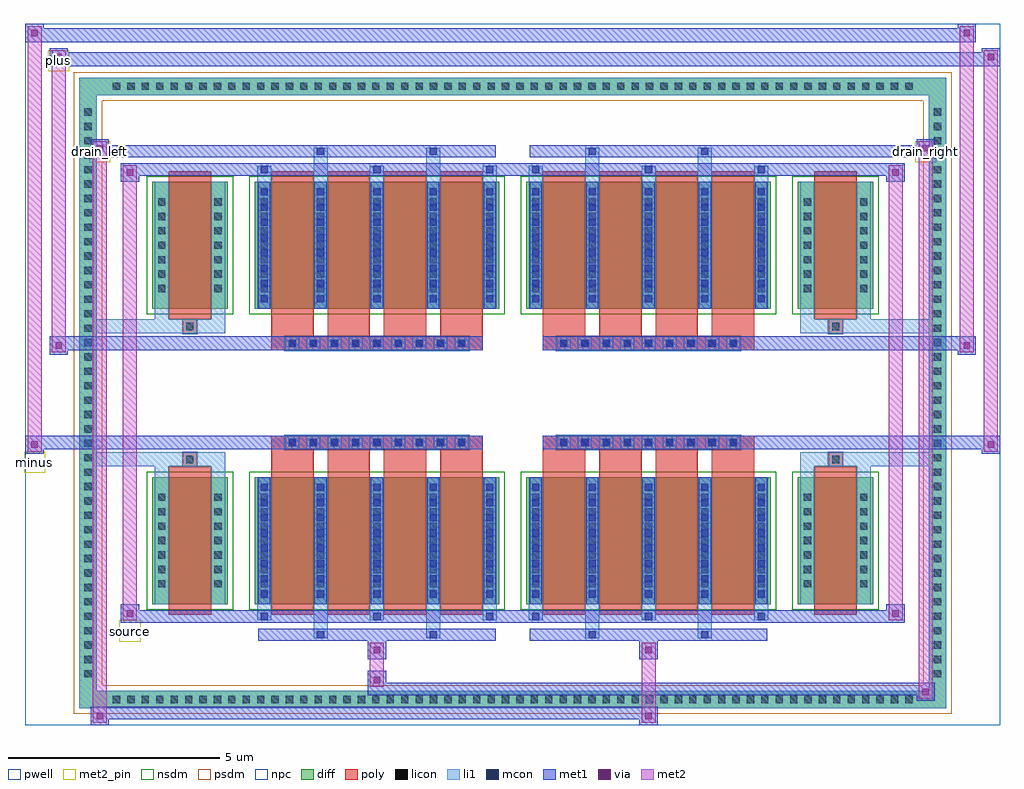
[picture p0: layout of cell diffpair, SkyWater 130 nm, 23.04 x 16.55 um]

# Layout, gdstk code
import gdstk
lib = gdstk.Library(unit=1e-6, precision=5e-09)
def R(c, l, rs):  # rectangles x0, y0, x1, y1
    for r in rs: c.add(gdstk.rectangle(r[:2], r[2:], *l))
def A(c, l, x, y, w, h, nx, ny, dx, dy):  # array of equal rectangles
    R(c, l, [(x+i*dx, y+j*dy, x+i*dx+w, y+j*dy+h) for i in range(nx) for j in range(ny)])
def P(c, l, *ps):  # polygons
    for p in ps: c.add(gdstk.Polygon(p, *l))
pwell = (64, 44)
diff = (65, 20)
poly = (66, 20)
licon = (66, 44)
li1 = (67, 20)
mcon = (67, 44)
met1 = (68, 20)
via = (68, 44)
met2_pin = (69, 16)
met2 = (69, 20)
nsdm = (93, 44)
psdm = (94, 20)
npc = (95, 20)

diffpair = lib.new_cell('diffpair')
R(diffpair, pwell, [(-11.5,-7.84,11.5,8.71), (-8.82,-6.03,-0.01,-0.805), (0.01,-6.03,8.82,-0.805), (-8.82,0.805,-0.01,6.03), (0.01,0.805,8.82,6.03)])
A(diffpair, diff, -9.555, -7.44, 0.41, 0.41, 56, 2, 0.34, 14.47)
A(diffpair, diff, -10.23, -6.835, 0.41, 0.41, 1, 40, 0, 0.34)
A(diffpair, diff, 9.82, -6.835, 0.41, 0.41, 1, 40, 0, 0.34)
R(diffpair, diff, [(-9.555,-7.44,9.555,-7.03), (-10.23,-6.835,-9.82,6.835), (9.82,-6.835,10.23,6.835), (-8.51,-4.985,-6.73,-1.985), (-6.09,-4.985,-0.32,-1.985), (0.32,-4.985,6.09,-1.985), (6.73,-4.985,8.51,-1.985), (-8.51,1.985,-6.73,4.985), (-6.09,1.985,-0.32,4.985), (0.32,1.985,6.09,4.985), (6.73,1.985,8.51,4.985), (-9.555,7.03,9.555,7.44)])
P(diffpair, diff, [(10.23,7.44),(-10.23,7.44),(-10.23,-7.03),(-9.82,-7.03),(-9.82,7.03),(9.82,7.03),(9.82,-7.03),(-9.82,-7.03),(-10.23,-7.03),(-10.23,-7.44),(10.23,-7.44)])
A(diffpair, poly, -5.7, -5.235, 1, 3.5, 4, 2, 1.33, 6.97)
A(diffpair, poly, 0.71, -5.235, 1, 3.5, 4, 2, 1.33, 6.97)
A(diffpair, poly, -5.7, -1.735, 1, 0.4, 4, 2, 1.33, 3.07)
A(diffpair, poly, 0.71, -1.735, 1, 0.4, 4, 2, 1.33, 3.07)
A(diffpair, poly, -5.37, -1.335, 0.33, 0.33, 9, 2, 0.5, 2.34)
A(diffpair, poly, 1.04, -1.335, 0.33, 0.33, 9, 2, 0.5, 2.34)
R(diffpair, poly, [(-8.12,-5.235,-7.12,-1.735), (7.12,-5.235,8.12,-1.735), (-7.785,-1.735,-7.455,-1.405), (-7.785,-1.735,-7.455,-1.405), (7.455,-1.735,7.785,-1.405), (7.455,-1.735,7.785,-1.405), (-5.7,-1.335,-0.71,-1.005), (0.71,-1.335,5.7,-1.005), (-5.7,1.005,-0.71,1.335), (0.71,1.005,5.7,1.335), (-7.785,1.405,-7.455,1.735), (-7.785,1.405,-7.455,1.735), (7.455,1.405,7.785,1.735), (7.455,1.405,7.785,1.735), (-8.12,1.735,-7.12,5.235), (7.12,1.735,8.12,5.235)])
A(diffpair, licon, -9.435, -7.32, 0.17, 0.17, 56, 2, 0.34, 14.47)
A(diffpair, licon, -10.11, -6.715, 0.17, 0.17, 1, 40, 0, 0.34)
A(diffpair, licon, 9.94, -6.715, 0.17, 0.17, 1, 40, 0, 0.34)
A(diffpair, licon, -8.37, -4.59, 0.17, 0.17, 1, 7, 0, 0.34)
A(diffpair, licon, -7.04, -4.59, 0.17, 0.17, 1, 7, 0, 0.34)
A(diffpair, licon, -5.95, -4.59, 0.17, 0.17, 5, 7, 1.33, 0.34)
A(diffpair, licon, 0.46, -4.59, 0.17, 0.17, 5, 7, 1.33, 0.34)
A(diffpair, licon, 6.87, -4.59, 0.17, 0.17, 1, 7, 0, 0.34)
A(diffpair, licon, 8.2, -4.59, 0.17, 0.17, 1, 7, 0, 0.34)
A(diffpair, licon, -5.29, -1.255, 0.17, 0.17, 9, 2, 0.5, 2.34)
A(diffpair, licon, 1.12, -1.255, 0.17, 0.17, 9, 2, 0.5, 2.34)
A(diffpair, licon, -8.37, 2.38, 0.17, 0.17, 1, 7, 0, 0.34)
A(diffpair, licon, -7.04, 2.38, 0.17, 0.17, 1, 7, 0, 0.34)
A(diffpair, licon, -5.95, 2.38, 0.17, 0.17, 5, 7, 1.33, 0.34)
A(diffpair, licon, 0.46, 2.38, 0.17, 0.17, 5, 7, 1.33, 0.34)
A(diffpair, licon, 6.87, 2.38, 0.17, 0.17, 1, 7, 0, 0.34)
A(diffpair, licon, 8.2, 2.38, 0.17, 0.17, 1, 7, 0, 0.34)
R(diffpair, licon, [(-7.705,-1.655,-7.535,-1.485), (7.535,-1.655,7.705,-1.485), (-7.705,1.485,-7.535,1.655), (7.535,1.485,7.705,1.655)])
A(diffpair, li1, -9.515, -7.4, 0.33, 0.33, 56, 2, 0.34, 14.47)
A(diffpair, li1, -10.19, -6.795, 0.33, 0.33, 1, 40, 0, 0.34)
A(diffpair, li1, 9.86, -6.795, 0.33, 0.33, 1, 40, 0, 0.34)
A(diffpair, li1, -6.03, -5.36, 0.33, 0.375, 3, 2, 2.66, 10.345)
A(diffpair, li1, -5.95, -5.36, 0.17, 0.17, 3, 2, 2.66, 10.55)
A(diffpair, li1, 0.38, -5.36, 0.33, 0.375, 3, 2, 2.66, 10.345)
A(diffpair, li1, 0.46, -5.36, 0.17, 0.17, 3, 2, 2.66, 10.55)
A(diffpair, li1, -6.03, -4.985, 0.33, 3, 5, 2, 1.33, 6.97)
A(diffpair, li1, 0.38, -4.985, 0.33, 3, 5, 2, 1.33, 6.97)
A(diffpair, li1, -5.95, -4.83, 0.17, 0.17, 5, 8, 1.33, 0.36)
A(diffpair, li1, -5.95, -4.83, 0.17, 2.69, 5, 2, 1.33, 6.97)
A(diffpair, li1, 0.46, -4.83, 0.17, 0.17, 5, 8, 1.33, 0.36)
A(diffpair, li1, 0.46, -4.83, 0.17, 2.69, 5, 2, 1.33, 6.97)
A(diffpair, li1, -8.45, -4.67, 0.33, 0.33, 1, 7, 0, 0.34)
A(diffpair, li1, -7.12, -4.67, 0.33, 0.33, 1, 7, 0, 0.34)
A(diffpair, li1, -6.03, -4.67, 0.33, 0.33, 5, 7, 1.33, 0.34)
A(diffpair, li1, 0.38, -4.67, 0.33, 0.33, 5, 7, 1.33, 0.34)
A(diffpair, li1, 6.79, -4.67, 0.33, 0.33, 1, 7, 0, 0.34)
A(diffpair, li1, 8.12, -4.67, 0.33, 0.33, 1, 7, 0, 0.34)
A(diffpair, li1, -5.37, -1.335, 0.33, 0.33, 9, 2, 0.5, 2.34)
A(diffpair, li1, 1.04, -1.335, 0.33, 0.33, 9, 2, 0.5, 2.34)
A(diffpair, li1, -5.95, 2.14, 0.17, 0.17, 5, 8, 1.33, 0.36)
A(diffpair, li1, 0.46, 2.14, 0.17, 0.17, 5, 8, 1.33, 0.36)
A(diffpair, li1, -8.45, 2.3, 0.33, 0.33, 1, 7, 0, 0.34)
A(diffpair, li1, -7.12, 2.3, 0.33, 0.33, 1, 7, 0, 0.34)
A(diffpair, li1, -6.03, 2.3, 0.33, 0.33, 5, 7, 1.33, 0.34)
A(diffpair, li1, 0.38, 2.3, 0.33, 0.33, 5, 7, 1.33, 0.34)
A(diffpair, li1, 6.79, 2.3, 0.33, 0.33, 1, 7, 0, 0.34)
A(diffpair, li1, 8.12, 2.3, 0.33, 0.33, 1, 7, 0, 0.34)
R(diffpair, li1, [(-10.23,-7.44,-9.82,-7.03), (-10.23,-7.44,-9.82,-7.03), (-9.82,-7.44,9.82,-7.03), (9.82,-7.44,10.23,-7.03), (9.82,-7.44,10.23,-7.03), (-10.23,-7.03,-9.82,7.03), (9.82,-7.03,10.23,7.03), (-4.7,-5.79,-4.37,-4.985), (-4.62,-5.79,-4.45,-5.62), (-2.04,-5.79,-1.71,-4.985), (-1.96,-5.79,-1.79,-5.62), (1.71,-5.79,2.04,-4.985), (1.79,-5.79,1.96,-5.62), (4.37,-5.79,4.7,-4.985), (4.45,-5.79,4.62,-5.62), (-8.45,-4.985,-8.12,-1.985), (-7.12,-4.985,-6.79,-1.985), (6.79,-4.985,7.12,-1.985), (8.12,-4.985,8.45,-1.985), (-8.45,-1.985,-8.12,-1.405), (-7.12,-1.985,-6.79,-1.405), (6.79,-1.985,7.12,-1.405), (8.12,-1.985,8.45,-1.405), (-10.23,-1.735,-7.785,-1.405), (-8.45,-1.735,-7.785,-1.405), (-7.785,-1.735,-7.455,-1.405), (-7.455,-1.735,-6.79,-1.405), (6.79,-1.735,7.455,-1.405), (7.455,-1.735,7.785,-1.405), (7.455,-1.735,10.23,-1.405), (7.785,-1.735,8.45,-1.405), (-10.23,1.405,-7.785,1.735), (-8.45,1.405,-7.785,1.735), (-8.45,1.405,-8.12,1.985), (-7.785,1.405,-7.455,1.735), (-7.455,1.405,-6.79,1.735), (-7.12,1.405,-6.79,1.985), (6.79,1.405,7.455,1.735), (6.79,1.405,7.12,1.985), (7.455,1.405,7.785,1.735), (7.455,1.405,10.23,1.735), (7.785,1.405,8.45,1.735), (8.12,1.405,8.45,1.985), (-8.45,1.985,-8.12,4.985), (-7.12,1.985,-6.79,4.985), (6.79,1.985,7.12,4.985), (8.12,1.985,8.45,4.985), (-4.7,4.985,-4.37,5.79), (-2.04,4.985,-1.71,5.79), (1.71,4.985,2.04,5.79), (4.37,4.985,4.7,5.79), (-4.62,5.62,-4.45,5.79), (-1.96,5.62,-1.79,5.79), (1.79,5.62,1.96,5.79), (4.45,5.62,4.62,5.79), (-10.23,7.03,-9.82,7.44), (-10.23,7.03,-9.82,7.44), (-9.82,7.03,9.82,7.44), (9.82,7.03,10.23,7.44), (9.82,7.03,10.23,7.44)])
A(diffpair, mcon, -5.95, -5.36, 0.17, 0.17, 3, 2, 2.66, 10.55)
A(diffpair, mcon, 0.46, -5.36, 0.17, 0.17, 3, 2, 2.66, 10.55)
A(diffpair, mcon, -5.95, -4.83, 0.17, 0.17, 5, 8, 1.33, 0.36)
A(diffpair, mcon, 0.46, -4.83, 0.17, 0.17, 5, 8, 1.33, 0.36)
A(diffpair, mcon, -5.29, -1.255, 0.17, 0.17, 9, 2, 0.5, 2.34)
A(diffpair, mcon, 1.12, -1.255, 0.17, 0.17, 9, 2, 0.5, 2.34)
A(diffpair, mcon, -5.95, 2.14, 0.17, 0.17, 5, 8, 1.33, 0.36)
A(diffpair, mcon, 0.46, 2.14, 0.17, 0.17, 5, 8, 1.33, 0.36)
R(diffpair, mcon, [(-4.62,-5.79,-4.45,-5.62), (-1.96,-5.79,-1.79,-5.62), (1.79,-5.79,1.96,-5.62), (4.45,-5.79,4.62,-5.62), (-4.62,5.62,-4.45,5.79), (-1.96,5.62,-1.79,5.79), (1.79,5.62,1.96,5.79), (4.45,5.62,4.62,5.79)])
A(diffpair, met1, -6.01, -5.42, 0.29, 0.29, 3, 2, 2.66, 10.55)
A(diffpair, met1, 0.4, -5.42, 0.29, 0.29, 3, 2, 2.66, 10.55)
A(diffpair, met1, -6.01, -4.985, 0.29, 3, 5, 2, 1.33, 6.97)
A(diffpair, met1, 0.4, -4.985, 0.29, 3, 5, 2, 1.33, 6.97)
A(diffpair, met1, -6.01, -4.89, 0.29, 0.29, 5, 8, 1.33, 0.36)
A(diffpair, met1, 0.4, -4.89, 0.29, 0.29, 5, 8, 1.33, 0.36)
A(diffpair, met1, -5.35, -1.315, 0.29, 0.29, 9, 2, 0.5, 2.34)
A(diffpair, met1, 1.06, -1.315, 0.29, 0.29, 9, 2, 0.5, 2.34)
A(diffpair, met1, -6.01, 2.08, 0.29, 0.29, 5, 8, 1.33, 0.36)
A(diffpair, met1, 0.4, 2.08, 0.29, 0.29, 5, 8, 1.33, 0.36)
R(diffpair, met1, [(-9.96,-7.84,-9.53,-7.41), (2.99,-7.84,3.42,-7.41), (-9.96,-7.7,3.42,-7.41), (9.53,-7.27,9.96,-6.84), (-3.42,-7.13,9.96,-6.84), (-3.42,-6.99,-2.99,-6.56), (-3.42,-6.28,-2.99,-5.85), (2.99,-6.28,3.42,-5.85), (-6.01,-5.85,-0.4,-5.56), (-4.68,-5.85,-4.39,-5.56), (-2.02,-5.85,-1.73,-5.56), (0.4,-5.85,6.01,-5.56), (1.73,-5.85,2.02,-5.56), (4.39,-5.85,4.68,-5.56), (-9.25,-5.42,-8.82,-4.99), (-9.25,-5.42,-6.01,-5.13), (-6.01,-5.42,-0.4,-5.13), (-0.4,-5.42,0.4,-5.13), (0.4,-5.42,6.01,-5.13), (6.01,-5.42,9.25,-5.13), (8.82,-5.42,9.25,-4.99), (-11.5,-1.435,-11.07,-1.005), (11.07,-1.435,11.5,-1.005), (-11.5,-1.335,-0.71,-1.005), (-5.7,-1.335,-0.71,-1.005), (0.71,-1.335,5.7,-1.005), (0.71,-1.335,11.5,-1.005), (-10.93,0.905,-10.5,1.335), (10.5,0.905,10.93,1.335), (-10.93,1.005,-5.7,1.335), (-5.7,1.005,-0.71,1.335), (0.71,1.005,5.7,1.335), (5.7,1.005,10.93,1.335), (-9.25,4.99,-8.82,5.42), (8.82,4.99,9.25,5.42), (-9.25,5.13,-6.01,5.42), (-6.01,5.13,-0.4,5.42), (-0.4,5.13,0.4,5.42), (0.4,5.13,6.01,5.42), (6.01,5.13,9.25,5.42), (-9.96,5.56,-9.53,5.99), (-9.96,5.56,-6.01,5.85), (-6.01,5.56,-0.4,5.85), (-4.68,5.56,-4.39,5.85), (-2.02,5.56,-1.73,5.85), (0.4,5.56,6.01,5.85), (1.73,5.56,2.02,5.85), (4.39,5.56,4.68,5.85), (6.01,5.56,9.96,5.85), (9.53,5.56,9.96,5.99), (-10.93,7.71,-10.5,8.14), (-10.93,7.71,-8.82,8.04), (-8.82,7.71,8.82,8.04), (8.82,7.71,11.5,8.04), (11.07,7.71,11.5,8.14), (-11.5,8.28,-11.07,8.71), (-11.5,8.28,-8.82,8.61), (-8.82,8.28,8.82,8.61), (8.82,8.28,10.93,8.61), (10.5,8.28,10.93,8.71)])
R(diffpair, via, [(-9.82,-7.7,-9.67,-7.55), (3.13,-7.7,3.28,-7.55), (9.67,-7.13,9.82,-6.98), (-3.28,-6.85,-3.13,-6.7), (-3.28,-6.14,-3.13,-5.99), (3.13,-6.14,3.28,-5.99), (-9.11,-5.28,-8.96,-5.13), (8.96,-5.28,9.11,-5.13), (-11.36,-1.295,-11.21,-1.145), (11.21,-1.295,11.36,-1.145), (-10.79,1.045,-10.64,1.195), (10.64,1.045,10.79,1.195), (-9.11,5.13,-8.96,5.28), (8.96,5.13,9.11,5.28), (-9.82,5.7,-9.67,5.85), (9.67,5.7,9.82,5.85), (-10.79,7.85,-10.64,8), (11.21,7.85,11.36,8), (-11.36,8.42,-11.21,8.57), (10.64,8.42,10.79,8.57)])
R(diffpair, met2_pin, [(-9.285,-5.87,-8.785,-5.37), (-11.535,-1.885,-11.035,-1.385), (-9.995,5.44,-9.495,5.94), (9.495,5.44,9.995,5.94), (-10.965,7.59,-10.465,8.09)])
R(diffpair, met2, [(-9.91,-7.79,-9.58,-7.46), (-9.91,-7.79,-9.58,5.94), (3.04,-7.79,3.37,-7.46), (3.04,-7.46,3.37,-6.23), (9.58,-7.22,9.91,-6.89), (9.58,-7.22,9.91,5.94), (-3.37,-6.94,-3.04,-6.61), (-3.37,-6.61,-3.04,-6.23), (-3.37,-6.23,-3.04,-5.9), (3.04,-6.23,3.37,-5.9), (-9.2,-5.37,-8.87,-5.04), (-9.2,-5.37,-8.87,5.37), (8.87,-5.37,9.2,-5.04), (8.87,-5.37,9.2,5.37), (-11.45,-1.385,-11.12,-1.055), (-11.45,-1.385,-11.12,8.66), (11.12,-1.385,11.45,-1.055), (11.12,-1.385,11.45,8.09), (-10.88,0.955,-10.55,1.285), (-10.88,0.955,-10.55,8.09), (10.55,0.955,10.88,1.285), (10.55,0.955,10.88,8.66), (-9.2,5.04,-8.87,5.37), (8.87,5.04,9.2,5.37), (-9.91,5.61,-9.58,5.94), (9.58,5.61,9.91,5.94), (-10.88,7.76,-10.55,8.09), (11.12,7.76,11.45,8.09), (-11.45,8.33,-11.12,8.66), (10.55,8.33,10.88,8.66)])
P(diffpair, met2, [(11.45,-1.385),(11.45,-1.385),(11.45,-1.055),(11.45,-1.055)],
  [(11.45,7.76),(11.45,7.76),(11.45,8.09),(11.45,8.09)],
  [(-11.12,-1.385),(-11.12,-1.385),(-11.12,-1.055),(-11.12,-1.055)],
  [(-11.12,8.33),(-11.12,8.33),(-11.12,8.66),(-11.12,8.66)],
  [(10.88,0.955),(10.88,0.955),(10.88,1.285),(10.88,1.285)],
  [(10.88,8.33),(10.88,8.33),(10.88,8.66),(10.88,8.66)],
  [(-10.55,0.955),(-10.55,0.955),(-10.55,1.285),(-10.55,1.285)],
  [(-10.55,7.76),(-10.55,7.76),(-10.55,8.09),(-10.55,8.09)],
  [(-9.58,-7.79),(-9.58,-7.79),(-9.58,-7.46),(-9.58,-7.46)],
  [(-9.58,5.61),(-9.58,5.61),(-9.58,5.94),(-9.58,5.94)],
  [(9.91,-7.22),(9.91,-7.22),(9.91,-6.89),(9.91,-6.89)],
  [(9.91,5.61),(9.91,5.61),(9.91,5.94),(9.91,5.94)],
  [(-8.87,-5.37),(-8.87,-5.37),(-8.87,-5.04),(-8.87,-5.04)],
  [(-8.87,5.04),(-8.87,5.04),(-8.87,5.37),(-8.87,5.37)],
  [(9.2,-5.37),(9.2,-5.37),(9.2,-5.04),(9.2,-5.04)],
  [(9.2,5.04),(9.2,5.04),(9.2,5.37),(9.2,5.37)])
R(diffpair, nsdm, [(-8.64,-5.115,-6.6,-1.855), (-6.22,-5.115,-0.19,-1.855), (0.19,-5.115,6.22,-1.855), (6.6,-5.115,8.64,-1.855), (-8.64,1.855,-6.6,5.115), (-6.22,1.855,-0.19,5.115), (0.19,1.855,6.22,5.115), (6.6,1.855,8.64,5.115)])
P(diffpair, psdm, [(10.36,7.57),(-10.36,7.57),(-10.36,-6.9),(-9.69,-6.9),(-9.69,6.9),(9.69,6.9),(9.69,-6.9),(-9.69,-6.9),(-10.36,-6.9),(-10.36,-7.57),(10.36,-7.57)])
A(diffpair, npc, -5.39, -1.355, 0.37, 0.37, 9, 2, 0.5, 2.34)
A(diffpair, npc, 1.02, -1.355, 0.37, 0.37, 9, 2, 0.5, 2.34)
R(diffpair, npc, [(-7.805,-1.755,-7.435,-1.385), (7.435,-1.755,7.805,-1.385), (-5.39,-1.355,-4.52,-0.985), (-5.39,-1.355,-4.52,-0.985), (-4.89,-1.355,-4.02,-0.985), (-4.89,-1.355,-4.02,-0.985), (-4.39,-1.355,-3.52,-0.985), (-4.39,-1.355,-3.52,-0.985), (-3.89,-1.355,-3.02,-0.985), (-3.89,-1.355,-3.02,-0.985), (-3.39,-1.355,-2.52,-0.985), (-3.39,-1.355,-2.52,-0.985), (-2.89,-1.355,-2.02,-0.985), (-2.89,-1.355,-2.02,-0.985), (-2.39,-1.355,-1.52,-0.985), (-2.39,-1.355,-1.52,-0.985), (-1.89,-1.355,-1.02,-0.985), (-1.89,-1.355,-1.02,-0.985), (1.02,-1.355,1.89,-0.985), (1.02,-1.355,1.89,-0.985), (1.52,-1.355,2.39,-0.985), (1.52,-1.355,2.39,-0.985), (2.02,-1.355,2.89,-0.985), (2.02,-1.355,2.89,-0.985), (2.52,-1.355,3.39,-0.985), (2.52,-1.355,3.39,-0.985), (3.02,-1.355,3.89,-0.985), (3.02,-1.355,3.89,-0.985), (3.52,-1.355,4.39,-0.985), (3.52,-1.355,4.39,-0.985), (4.02,-1.355,4.89,-0.985), (4.02,-1.355,4.89,-0.985), (4.52,-1.355,5.39,-0.985), (4.52,-1.355,5.39,-0.985), (-5.39,0.985,-4.52,1.355), (-5.39,0.985,-4.52,1.355), (-4.89,0.985,-4.02,1.355), (-4.89,0.985,-4.02,1.355), (-4.39,0.985,-3.52,1.355), (-4.39,0.985,-3.52,1.355), (-3.89,0.985,-3.02,1.355), (-3.89,0.985,-3.02,1.355), (-3.39,0.985,-2.52,1.355), (-3.39,0.985,-2.52,1.355), (-2.89,0.985,-2.02,1.355), (-2.89,0.985,-2.02,1.355), (-2.39,0.985,-1.52,1.355), (-2.39,0.985,-1.52,1.355), (-1.89,0.985,-1.02,1.355), (-1.89,0.985,-1.02,1.355), (1.02,0.985,1.89,1.355), (1.02,0.985,1.89,1.355), (1.52,0.985,2.39,1.355), (1.52,0.985,2.39,1.355), (2.02,0.985,2.89,1.355), (2.02,0.985,2.89,1.355), (2.52,0.985,3.39,1.355), (2.52,0.985,3.39,1.355), (3.02,0.985,3.89,1.355), (3.02,0.985,3.89,1.355), (3.52,0.985,4.39,1.355), (3.52,0.985,4.39,1.355), (4.02,0.985,4.89,1.355), (4.02,0.985,4.89,1.355), (4.52,0.985,5.39,1.355), (4.52,0.985,5.39,1.355), (-7.805,1.385,-7.435,1.755), (7.435,1.385,7.805,1.755)])
diffpair.add(gdstk.Label('minus', (-11.285,-1.635), layer=69, texttype=5))
diffpair.add(gdstk.Label('drain_right', (9.745,5.69), layer=69, texttype=5))
diffpair.add(gdstk.Label('drain_left', (-9.745,5.69), layer=69, texttype=5))
diffpair.add(gdstk.Label('source', (-9.035,-5.62), layer=69, texttype=5))
diffpair.add(gdstk.Label('plus', (-10.715,7.84), layer=69, texttype=5))

lib.write_gds('diffpair.gds')
